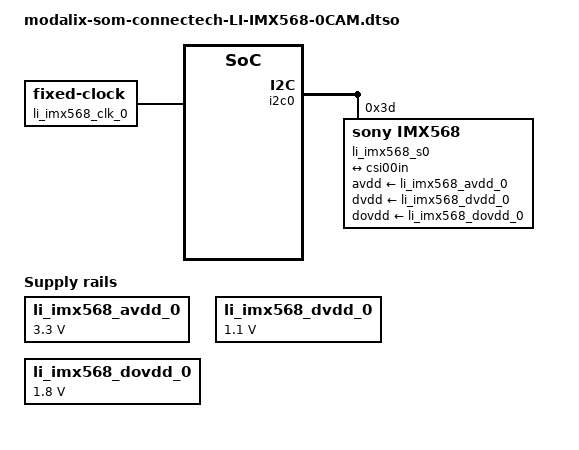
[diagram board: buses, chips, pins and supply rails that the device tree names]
// SPDX-License-Identifier: (GPL-2.0+ OR MIT)
/*
 * Copyright (c) 2026 SiMa ai
 *
 * li-imx568 (direct Sony imx568, sony,imx568) on modalix connectech SoM csi0,
 * CSI-2 controller mode, i2c addr 0x3d, RAW12 1920x1080 first.
 */

/dts-v1/;
/plugin/;

#include "modalix-som-connectech-0CAM.dtsi"

&{/} {
    li_imx568_avdd_0: csi0_fixedregulator@0 {
        compatible = "regulator-fixed";
        regulator-name = "li_imx568_avdd_0";
        regulator-min-microvolt = <3300000>;
        regulator-max-microvolt = <3300000>;
        enable-active-high;
        startup-delay-us = <300000>;
        regulator-always-on;
    };

    li_imx568_dvdd_0: csi0_fixedregulator@1 {
        compatible = "regulator-fixed";
        regulator-name = "li_imx568_dvdd_0";
        regulator-min-microvolt = <1100000>;
        regulator-max-microvolt = <1100000>;
        regulator-always-on;
    };

    li_imx568_dovdd_0: csi0_fixedregulator@2 {
        compatible = "regulator-fixed";
        regulator-name = "li_imx568_dovdd_0";
        regulator-min-microvolt = <1800000>;
        regulator-max-microvolt = <1800000>;
        regulator-always-on;
    };

    li_imx568_clk_0: csi0_camera-clk {
        compatible = "fixed-clock";
        #clock-cells = <0>;
        clock-frequency = <37125000>;
    };
};

/* csi0 controller mode; bt-* porches are a 1080p starting point, tune per board. */
&csi0 {
    simaai,bt-pixelclock = /bits/ 64 <500000000>;
    simaai,bt-hsync = <2>;
    simaai,bt-hbackporch = <100>;
    simaai,bt-hfrontporch = <1548>;
    simaai,bt-vsync = <1>;
    simaai,bt-vbackporch = <68>;
    simaai,bt-vfrontporch = <1>;
    simaai,ipi-controller-mode = <1>;
    simaai,ipi-emb-data-enable = <0>;
};

&csi00in {
    clock-lanes = <0>;
    data-lanes = <1 2>;
    link-frequencies = /bits/ 64 <594000000>;
    remote-endpoint = <&cam00out>;
    clock-continuous;
};

&i2c0 {
        li_imx568_s0: imx568@3d {
                compatible = "sony,imx568";
                /* sensor stream-on takes ~600 ms; do not free-run the IPI before it */
                simaai,ipi-enable-delay-ms = <800>;
                reg = <0x3d>;

                clocks = <&li_imx568_clk_0>;
                clock-names = "inck";

                avdd-supply = <&li_imx568_avdd_0>;
                dvdd-supply = <&li_imx568_dvdd_0>;
                dovdd-supply = <&li_imx568_dovdd_0>;

                port {
                        cam00out: endpoint {
                                clock-lanes = <0>;
                                data-lanes = <1 2>;
                                link-frequencies = /bits/ 64 <594000000>;
                                remote-endpoint = <&csi00in>;
                                clock-continuous;
                        };
                };
        };
};
